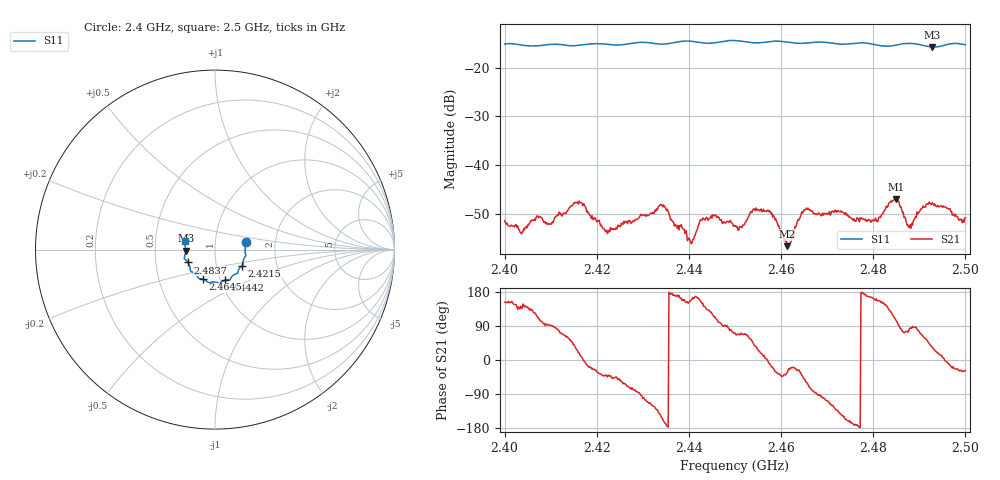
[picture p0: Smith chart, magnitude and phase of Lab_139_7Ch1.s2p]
# Hz S RI R 50
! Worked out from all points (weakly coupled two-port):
!   601 points, 2.4 GHz to 2.5 GHz, reference 50 ohm
!   highest |S21| = -46.98 dB at 2.485 GHz (marker M1); lowest = -56.7 dB at 2.4613 GHz (marker M2)
!   lowest |S11| = -15.7 dB at 2.4928 GHz (marker M3), VSWR 1.39, Z = 36 - j0.386 ohm
!   |S11| at or under -10 dB: start of sweep to end of sweep
!   S12 and S22 are empty: the file has one direction only
!   S11 on the Smith chart (normalised r, x): 2.4 GHz: 1.41, +0.12; 2.4215 GHz: 1.33, -0.25; 2.4442 GHz: 1.05, -0.37; 2.4645 GHz: 0.83, -0.29; 2.4837 GHz: 0.73, -0.11; 2.5 GHz: 0.71, +0.07
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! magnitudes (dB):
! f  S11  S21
! 2.4 GHz  -15.1  -51.4
! 2.4038 GHz  -15.3  -53.7
! 2.4073 GHz  -15.5  -50.8
! 2.4167 GHz  -15.3  -47.7
! 2.4215 GHz  -15.1  -53.1
! 2.4333 GHz  -15.1  -48.6
! 2.435 GHz  -15.1  -49.0
! 2.4402 GHz  -14.5  -55.3
! 2.4442 GHz  -15.0  -51.4
! 2.45 GHz  -14.4  -52.6
! 2.454 GHz  -14.9  -49.0
! 2.4572 GHz  -14.7  -49.3
! 2.4613 GHz  -14.7  -56.7
! 2.4645 GHz  -15.0  -49.6
! 2.4667 GHz  -14.8  -49.4
! 2.4805 GHz  -15.3  -50.9
! 2.4833 GHz  -15.5  -47.9
! 2.4837 GHz  -15.5  -47.7
! 2.485 GHz  -15.3  -47.0
! 2.4878 GHz  -15.0  -52.8
! 2.4928 GHz  -15.7  -47.8
! 2.5 GHz  -15.3  -50.9
